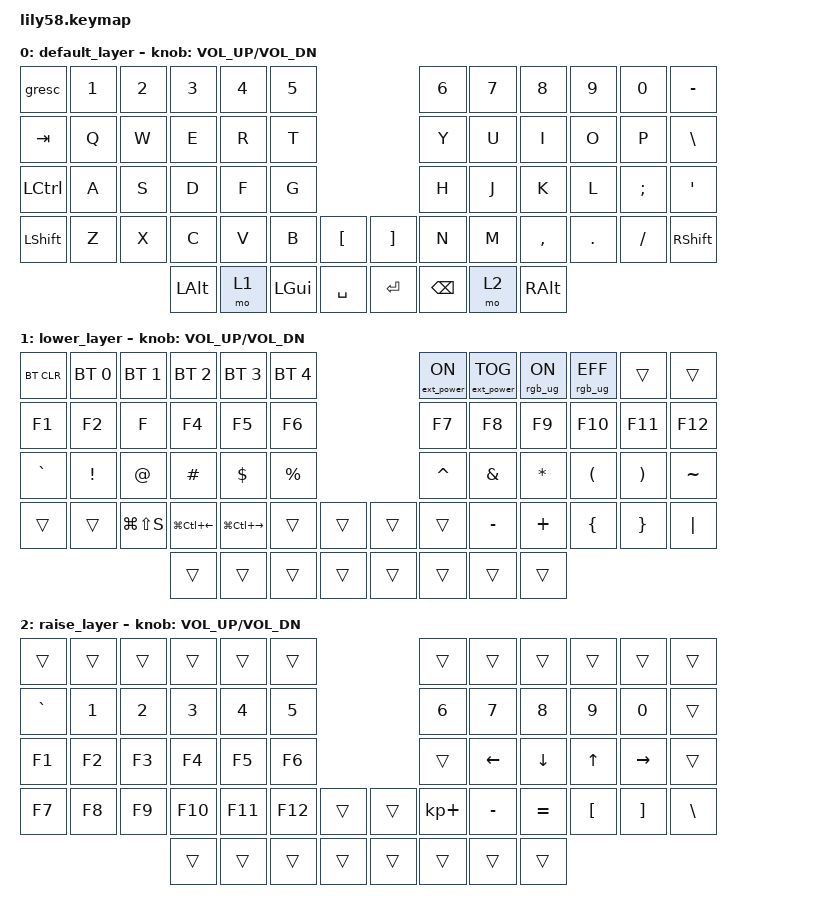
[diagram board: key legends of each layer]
/*
 * Copyright (c) 2020 The ZMK Contributors
 *
 * SPDX-License-Identifier: MIT
 */

#include <behaviors.dtsi>
#include <dt-bindings/zmk/bt.h>
#include <dt-bindings/zmk/ext_power.h>
#include <dt-bindings/zmk/keys.h>
#include <dt-bindings/zmk/rgb.h>

/ {
    keymap {
        compatible = "zmk,keymap";

        default_layer {
            // ------------------------------------------------------------------------------------------------------------
            // | GRESC |  1  |  2  |  3   |  4   |  5   |                   |  6   |  7    |  8    |  9   |   0   |   -   |
            // |  TAB  |  Q  |  W  |  E   |  R   |  T   |                   |  Y   |  U    |  I    |  O   |   P   |   \   |
            // |  CTRL |  A  |  S  |  D   |  F   |  G   |                   |  H   |  J    |  K    |  L   |   ;   |   '   |
            // | SHIFT |  Z  |  X  |  C   |  V   |  B   |   "["  |  |  "]"  |  N   |  M    |  ,    |  .   |   /   | SHIFT |
            //                     | ALT  | LOWER| GUI  |  SPACE |  | ENTER | BSPC | RAISE | RALT  |

            bindings = <
&gresc     &kp N1  &kp N2  &kp N3    &kp N4  &kp N5                           &kp N6    &kp N7  &kp N8     &kp N9   &kp N0    &kp MINUS
&kp TAB    &kp Q   &kp W   &kp E     &kp R   &kp T                            &kp Y     &kp U   &kp I      &kp O    &kp P     &kp BSLH
&kp LCTRL  &kp A   &kp S   &kp D     &kp F   &kp G                            &kp H     &kp J   &kp K      &kp L    &kp SEMI  &kp SQT
&kp LSHFT  &kp Z   &kp X   &kp C     &kp V   &kp B     &kp LBKT     &kp RBKT  &kp N     &kp M   &kp COMMA  &kp DOT  &kp FSLH  &kp RSHFT
                           &kp LALT  &mo 1   &kp LGUI  &kp SPACE    &kp RET   &kp BSPC  &mo 2   &kp RALT
            >;

            sensor-bindings = <&inc_dec_kp C_VOL_UP C_VOL_DN>;
        };

        lower_layer {
            // ------------------------------------------------------------------------------------------------------------
            // | BTCLR | BT1 | BT2 |  BT3 |  BT4 |  BT5 |                   |      |       |       |      |       |       |
            // |  F1   |  F2 |  F3 |  F4  |  F5  |  F6  |                   |  F7  |  F8   |  F9   |  F10 |  F11  |  F12  |
            // |   `   |  !  |  @  |  #   |  $   |  %   |                   |  ^   |  &    |  *    |  (   |   )   |   ~   |
            // |       |     |     |      |      |      |        |  |       |      |  _    |  +    |  {   |   }   |  "|"  |
            //                     |      |      |      |        |  |       |      |       |       |

            bindings = <
&bt BT_CLR  &bt BT_SEL 0  &bt BT_SEL 1   &bt BT_SEL 2      &bt BT_SEL 3       &bt BT_SEL 4                    &ext_power EP_ON  &ext_power EP_TOG  &rgb_ug RGB_ON  &rgb_ug RGB_EFF  &trans    &trans
&kp F1      &kp F2        &kp F          &kp F4            &kp F5             &kp F6                          &kp F7            &kp F8             &kp F9          &kp F10          &kp F11   &kp F12
&kp GRAVE   &kp EXCL      &kp AT         &kp HASH          &kp DOLLAR         &kp PRCNT                       &kp CARET         &kp AMPS           &kp ASTRK       &kp LPAR         &kp RPAR  &kp TILDE
&trans      &trans        &kp LG(LS(S))  &kp LG(LC(LEFT))  &kp LG(LC(RIGHT))  &trans        &trans    &trans  &trans            &kp MINUS          &kp PLUS        &kp LBRC         &kp RBRC  &kp PIPE
                                         &trans            &trans             &trans        &trans    &trans  &trans            &trans             &trans
            >;

            sensor-bindings = <&inc_dec_kp C_VOL_UP C_VOL_DN>;
        };

        raise_layer {
            // ------------------------------------------------------------------------------------------------------------
            // |       |     |     |      |      |      |                   |      |       |       |      |       |       |
            // |   `   |  1  |  2  |  3   |  4   |  5   |                   |  6   |   7   |   8   |  9   |   0   |       |
            // |   F1  |  F2 |  F3 |  F4  |  F5  |  F6  |                   |      |   <-  |   v   |  ^   |  ->   |       |
            // |   F7  |  F8 |  F9 |  F10 |  F11 |  F12 |        |  |       |  +   |   -   |   =   |  [   |   ]   |   \   |
            //                     |      |      |      |        |  |       |      |       |       |

            bindings = <
&trans     &trans  &trans  &trans   &trans   &trans                     &trans       &trans     &trans     &trans    &trans     &trans
&kp GRAVE  &kp N1  &kp N2  &kp N3   &kp N4   &kp N5                     &kp N6       &kp N7     &kp N8     &kp N9    &kp N0     &trans
&kp F1     &kp F2  &kp F3  &kp F4   &kp F5   &kp F6                     &trans       &kp LEFT   &kp DOWN   &kp UP    &kp RIGHT  &trans
&kp F7     &kp F8  &kp F9  &kp F10  &kp F11  &kp F12  &trans    &trans  &kp KP_PLUS  &kp MINUS  &kp EQUAL  &kp LBKT  &kp RBKT   &kp BSLH
                           &trans   &trans   &trans   &trans    &trans  &trans       &trans     &trans
            >;

            sensor-bindings = <&inc_dec_kp C_VOL_UP C_VOL_DN>;
        };
    };
};

/ {
};
